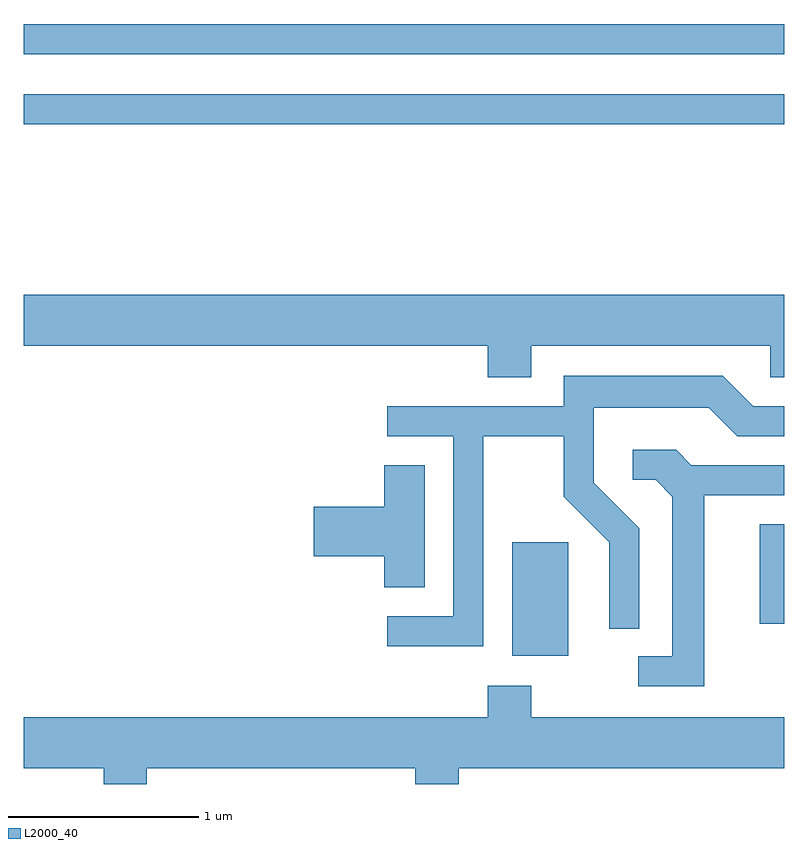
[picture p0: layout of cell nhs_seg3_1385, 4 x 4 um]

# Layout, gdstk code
import gdstk
lib = gdstk.Library(unit=1e-6, precision=1e-09)
def R(c, l, rs):  # rectangles x0, y0, x1, y1
    for r in rs: c.add(gdstk.rectangle(r[:2], r[2:], *l))
def P(c, l, *ps):  # polygons
    for p in ps: c.add(gdstk.Polygon(p, *l))
L2000_40 = (2000, 40)

nhs_seg3_1385 = lib.new_cell('nhs_seg3_1385')
R(nhs_seg3_1385, L2000_40, [(228.181,1166.566,228.474,1167.164), (229.481,1166.736,229.611,1167.259), (225.611,1169.361,229.611,1169.519), (225.611,1169.731,229.611,1169.889)])
P(nhs_seg3_1385, L2000_40, [(228.279,1168.196),(229.536,1168.196),(229.536,1168.031),(229.611,1168.031),(229.611,1168.464),(225.611,1168.464),(225.611,1168.196),(228.051,1168.196),(228.051,1168.031),(228.279,1168.031)],
  [(228.029,1167.721),(228.451,1167.721),(228.451,1167.404),(228.691,1167.164),(228.691,1166.708),(228.849,1166.708),(228.849,1167.237),(228.609,1167.477),(228.609,1167.871),(229.214,1167.871),(229.364,1167.721),(229.611,1167.721),(229.611,1167.879),(229.447,1167.879),(229.287,1168.039),(228.451,1168.039),(228.451,1167.879),(227.523,1167.879),(227.523,1167.721),(227.871,1167.721),(227.871,1166.774),(227.523,1166.774),(227.523,1166.616),(228.029,1166.616)],
  [(229.189,1167.411),(229.611,1167.411),(229.611,1167.569),(229.122,1167.569),(229.042,1167.649),(228.813,1167.649),(228.813,1167.491),(228.934,1167.491),(229.021,1167.404),(229.021,1166.564),(228.843,1166.564),(228.843,1166.406),(229.189,1166.406)],
  [(227.719,1167.569),(227.506,1167.569),(227.506,1167.349),(227.136,1167.349),(227.136,1167.091),(227.506,1167.091),(227.506,1166.926),(227.719,1166.926)],
  [(226.259,1165.976),(227.671,1165.976),(227.671,1165.892),(227.899,1165.892),(227.899,1165.976),(229.611,1165.976),(229.611,1166.244),(228.279,1166.244),(228.279,1166.409),(228.051,1166.409),(228.051,1166.244),(225.611,1166.244),(225.611,1165.976),(226.031,1165.976),(226.031,1165.892),(226.259,1165.892)])

lib.write_gds('nhs_seg3_1385.gds')
